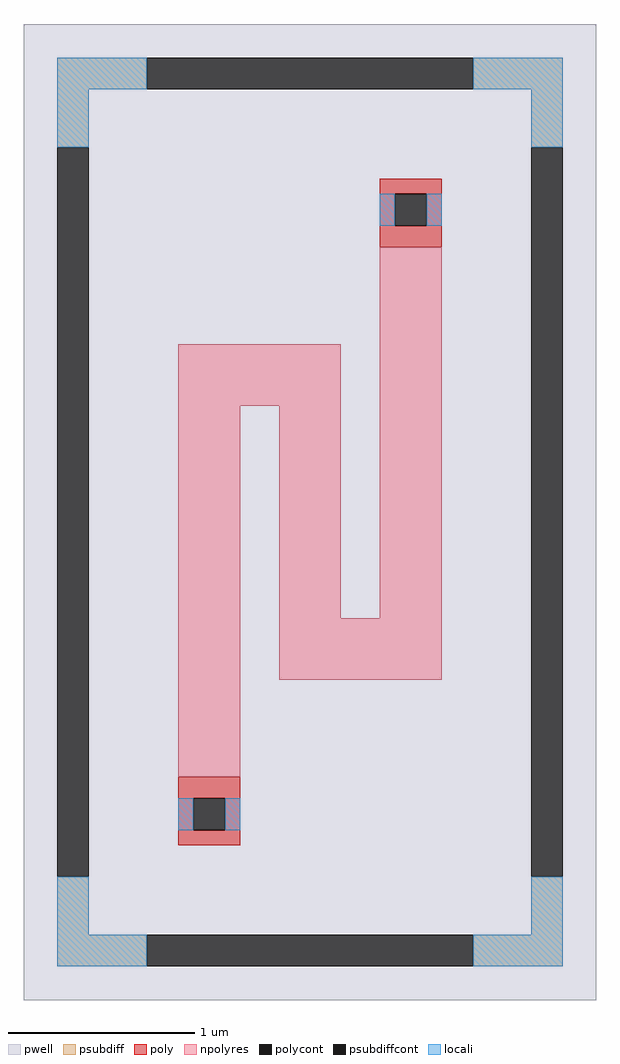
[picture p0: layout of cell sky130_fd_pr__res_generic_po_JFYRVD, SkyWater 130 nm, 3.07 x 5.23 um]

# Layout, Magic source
magic
tech sky130B
magscale 1 2
<< pwell >>
rect -307 -523 307 523
<< psubdiff >>
rect -271 453 -175 487
rect 175 453 271 487
rect -271 391 -237 453
rect 237 391 271 453
rect -271 -453 -237 -391
rect 237 -453 271 -391
rect -271 -487 -175 -453
rect 175 -487 271 -453
<< psubdiffcont >>
rect -175 453 175 487
rect -271 -391 -237 391
rect 237 -391 271 391
rect -175 -487 175 -453
<< poly >>
rect 75 341 141 357
rect 75 307 91 341
rect 125 307 141 341
rect 75 284 141 307
rect -141 -307 -75 -284
rect -141 -341 -125 -307
rect -91 -341 -75 -307
rect -141 -357 -75 -341
<< polycont >>
rect 91 307 125 341
rect -125 -341 -91 -307
<< npolyres >>
rect -141 114 33 180
rect -141 -284 -75 114
rect -33 -114 33 114
rect 75 -114 141 284
rect -33 -180 141 -114
<< locali >>
rect -271 453 -175 487
rect 175 453 271 487
rect -271 391 -237 453
rect 237 391 271 453
rect 75 307 91 341
rect 125 307 141 341
rect -141 -341 -125 -307
rect -91 -341 -75 -307
rect -271 -453 -237 -391
rect 237 -453 271 -391
rect -271 -487 -175 -453
rect 175 -487 271 -453
<< properties >>
string FIXED_BBOX -254 -470 254 470
string gencell sky130_fd_pr__res_generic_po
string library sky130
string parameters w 0.33 l 1.8 m 1 nx 3 wmin 0.330 lmin 1.650 rho 48.2 val 1.001k dummy 0 dw 0.0 term 0.0 sterm 0.0 caplen 0.4 snake 1 guard 1 glc 1 grc 1 gtc 1 gbc 1 roverlap 0 endcov 100 full_metal 1 hv_guard 0 n_guard 0 vias 1 viagb 0 viagt 0 viagl 0 viagr 0
<< end >>
